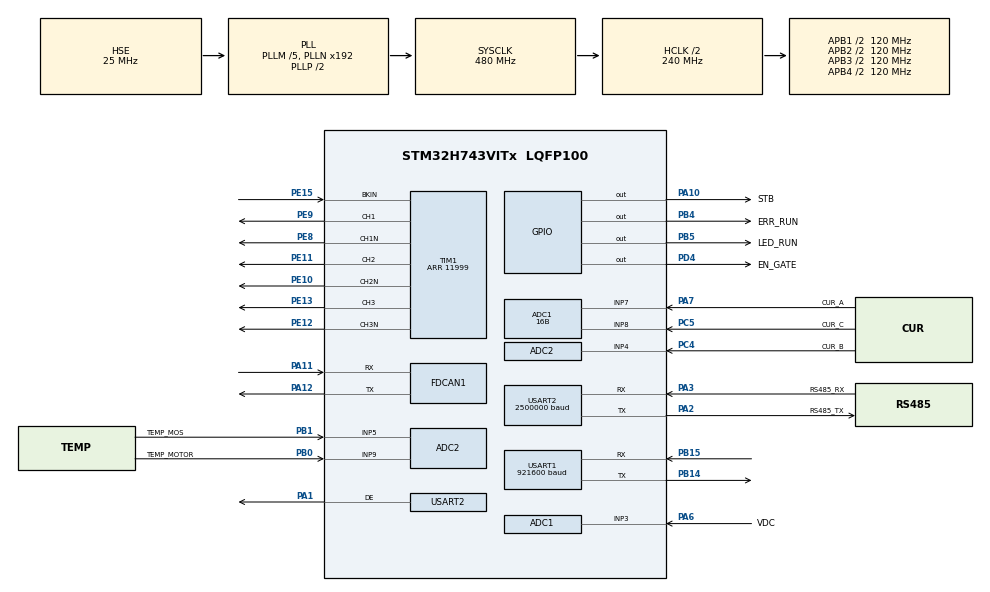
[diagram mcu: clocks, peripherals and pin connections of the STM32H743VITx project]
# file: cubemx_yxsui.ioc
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ADC1.Channel-12\#ChannelRegularConversion=ADC_CHANNEL_3
ADC1.Channel-13\#ChannelRegularConversion=ADC_CHANNEL_3
ADC1.ClockPrescaler=ADC_CLOCK_ASYNC_DIV4
ADC1.ContinuousConvMode=DISABLE
ADC1.ConversionDataManagement=ADC_CONVERSIONDATA_DMA_CIRCULAR
ADC1.DMAAccessModeView=ENABLE
ADC1.EOCSelection=ADC_EOC_SEQ_CONV
ADC1.EnableInjectedConversion=ENABLE
ADC1.EnableInjectedOversampling=ENABLE
ADC1.EnableRegularConversion=ENABLE
ADC1.ExternalTrigConv=ADC_EXTERNALTRIG_T6_TRGO
ADC1.ExternalTrigInjecConv=ADC_EXTERNALTRIGINJEC_T1_TRGO
ADC1.InjNumberOfConversion=1
ADC1.InjOversamplingRatio=8
ADC1.InjOversamplingRightShift=ADC_RIGHTBITSHIFT_3
ADC1.InjectedChannel-6\#ChannelInjectedConversion=ADC_CHANNEL_7
ADC1.InjectedOffsetNumber-6\#ChannelInjectedConversion=ADC_OFFSET_NONE
ADC1.InjectedOffsetSaturation-6\#ChannelInjectedConversion=DISABLE
ADC1.InjectedOffsetSignedSaturation-6\#ChannelInjectedConversion=DISABLE
ADC1.InjectedRank-6\#ChannelInjectedConversion=1
ADC1.InjectedSamplingTime-6\#ChannelInjectedConversion=ADC_SAMPLETIME_1CYCLE_5
ADC1.Mode=ADC_DUALMODE_REGSIMULT_INJECSIMULT
ADC1.NbrOfConversion=2
ADC1.NbrOfConversionFlag=1
ADC1.OffsetNumber-12\#ChannelRegularConversion=ADC_OFFSET_NONE
ADC1.OffsetNumber-13\#ChannelRegularConversion=ADC_OFFSET_NONE
ADC1.OffsetSignedSaturation-12\#ChannelRegularConversion=DISABLE
ADC1.OffsetSignedSaturation-13\#ChannelRegularConversion=DISABLE
ADC1.Overrun=ADC_OVR_DATA_OVERWRITTEN
ADC1.OversamplingMode=ENABLE
ADC1.Rank-12\#ChannelRegularConversion=1
ADC1.Rank-13\#ChannelRegularConversion=2
ADC1.Ratio=8
ADC1.Resolution=ADC_RESOLUTION_16B
ADC1.RightBitShift=ADC_RIGHTBITSHIFT_3
ADC1.SamplingTime-12\#ChannelRegularConversion=ADC_SAMPLETIME_1CYCLE_5
ADC1.SamplingTime-13\#ChannelRegularConversion=ADC_SAMPLETIME_1CYCLE_5
ADC1.master=1
ADC2.Channel-17\#ChannelRegularConversion=ADC_CHANNEL_9
ADC2.Channel-18\#ChannelRegularConversion=ADC_CHANNEL_5
ADC2.ClockPrescaler=ADC_CLOCK_ASYNC_DIV4
ADC2.ConversionDataManagement=ADC_CONVERSIONDATA_DMA_CIRCULAR
ADC2.DMAAccessModeView=ENABLE
ADC2.EOCSelection=ADC_EOC_SEQ_CONV
ADC2.EnableInjectedConversion=ENABLE
ADC2.EnableInjectedOversampling=ENABLE
ADC2.EnableRegularConversion=ENABLE
ADC2.InjNumberOfConversion=1
ADC2.InjOversamplingRatio=8
ADC2.InjOversamplingRightShift=ADC_RIGHTBITSHIFT_3
ADC2.InjectedChannel-15\#ChannelInjectedConversion=ADC_CHANNEL_4
ADC2.InjectedOffsetNumber-15\#ChannelInjectedConversion=ADC_OFFSET_NONE
ADC2.InjectedOffsetSaturation-15\#ChannelInjectedConversion=DISABLE
ADC2.InjectedOffsetSignedSaturation-15\#ChannelInjectedConversion=DISABLE
ADC2.InjectedRank-15\#ChannelInjectedConversion=1
ADC2.InjectedSamplingTime-15\#ChannelInjectedConversion=ADC_SAMPLETIME_1CYCLE_5
ADC2.Mode=ADC_DUALMODE_REGSIMULT_INJECSIMULT
ADC2.NbrOfConversion=2
ADC2.NbrOfConversionFlag=1
ADC2.OffsetNumber-17\#ChannelRegularConversion=ADC_OFFSET_NONE
ADC2.OffsetNumber-18\#ChannelRegularConversion=ADC_OFFSET_NONE
ADC2.OffsetSignedSaturation-17\#ChannelRegularConversion=DISABLE
ADC2.OffsetSignedSaturation-18\#ChannelRegularConversion=DISABLE
ADC2.Overrun=ADC_OVR_DATA_OVERWRITTEN
ADC2.OversamplingMode=ENABLE
ADC2.OversamplingStopReset=ADC_REGOVERSAMPLING_RESUMED_MODE
ADC2.Rank-17\#ChannelRegularConversion=1
ADC2.Rank-18\#ChannelRegularConversion=2
ADC2.Ratio=8
ADC2.RightBitShift=ADC_RIGHTBITSHIFT_3
ADC2.SamplingTime-17\#ChannelRegularConversion=ADC_SAMPLETIME_1CYCLE_5
ADC2.SamplingTime-18\#ChannelRegularConversion=ADC_SAMPLETIME_1CYCLE_5
CORTEX_M7.CPU_DCache=Disabled
CORTEX_M7.CPU_ICache=Enabled
CORTEX_M7.Enable_S-Cortex_Memory_Protection_Unit_Region1_Settings_S=MPU_REGION_ENABLE
CORTEX_M7.default_mode_Activation=1
Dma.ADC1.2.Direction=DMA_PERIPH_TO_MEMORY
Dma.ADC1.2.EventEnable=DISABLE
Dma.ADC1.2.FIFOMode=DMA_FIFOMODE_DISABLE
Dma.ADC1.2.Instance=DMA2_Stream6
Dma.ADC1.2.MemDataAlignment=DMA_MDATAALIGN_WORD
Dma.ADC1.2.MemInc=DMA_MINC_ENABLE
Dma.ADC1.2.Mode=DMA_CIRCULAR
Dma.ADC1.2.PeriphDataAlignment=DMA_PDATAALIGN_WORD
Dma.ADC1.2.PeriphInc=DMA_PINC_DISABLE
Dma.ADC1.2.Polarity=HAL_DMAMUX_REQ_GEN_RISING
Dma.ADC1.2.Priority=DMA_PRIORITY_HIGH
Dma.ADC1.2.RequestNumber=1
Dma.ADC1.2.SignalID=NONE
Dma.ADC1.2.SyncEnable=DISABLE
Dma.ADC1.2.SyncPolarity=HAL_DMAMUX_SYNC_NO_EVENT
Dma.ADC1.2.SyncRequestNumber=1
Dma.ADC1.2.SyncSignalID=NONE
Dma.ADC2.5.Direction=DMA_PERIPH_TO_MEMORY
Dma.ADC2.5.EventEnable=DISABLE
Dma.ADC2.5.FIFOMode=DMA_FIFOMODE_DISABLE
Dma.ADC2.5.Instance=DMA1_Stream2
Dma.ADC2.5.MemDataAlignment=DMA_MDATAALIGN_HALFWORD
Dma.ADC2.5.MemInc=DMA_MINC_ENABLE
Dma.ADC2.5.Mode=DMA_NORMAL
Dma.ADC2.5.PeriphDataAlignment=DMA_PDATAALIGN_HALFWORD
Dma.ADC2.5.PeriphInc=DMA_PINC_DISABLE
Dma.ADC2.5.Polarity=HAL_DMAMUX_REQ_GEN_RISING
Dma.ADC2.5.Priority=DMA_PRIORITY_LOW
Dma.ADC2.5.RequestNumber=1
Dma.ADC2.5.SignalID=NONE
Dma.ADC2.5.SyncEnable=DISABLE
Dma.ADC2.5.SyncPolarity=HAL_DMAMUX_SYNC_NO_EVENT
Dma.ADC2.5.SyncRequestNumber=1
Dma.ADC2.5.SyncSignalID=NONE
Dma.Request0=USART2_RX
Dma.Request1=USART2_TX
Dma.Request2=ADC1
Dma.Request3=USART1_TX
Dma.Request4=USART1_RX
Dma.Request5=ADC2
Dma.USART1_RX.4.Direction=DMA_PERIPH_TO_MEMORY
Dma.USART1_RX.4.EventEnable=DISABLE
Dma.USART1_RX.4.FIFOMode=DMA_FIFOMODE_DISABLE
Dma.USART1_RX.4.Instance=DMA1_Stream4
Dma.USART1_RX.4.MemDataAlignment=DMA_MDATAALIGN_BYTE
Dma.USART1_RX.4.MemInc=DMA_MINC_ENABLE
Dma.USART1_RX.4.Mode=DMA_NORMAL
Dma.USART1_RX.4.PeriphDataAlignment=DMA_PDATAALIGN_BYTE
Dma.USART1_RX.4.PeriphInc=DMA_PINC_DISABLE
Dma.USART1_RX.4.Polarity=HAL_DMAMUX_REQ_GEN_RISING
Dma.USART1_RX.4.Priority=DMA_PRIORITY_LOW
Dma.USART1_RX.4.RequestNumber=1
Dma.USART1_RX.4.SignalID=NONE
Dma.USART1_RX.4.SyncEnable=DISABLE
Dma.USART1_RX.4.SyncPolarity=HAL_DMAMUX_SYNC_NO_EVENT
Dma.USART1_RX.4.SyncRequestNumber=1
Dma.USART1_RX.4.SyncSignalID=NONE
Dma.USART1_TX.3.Direction=DMA_MEMORY_TO_PERIPH
Dma.USART1_TX.3.EventEnable=DISABLE
Dma.USART1_TX.3.FIFOMode=DMA_FIFOMODE_DISABLE
Dma.USART1_TX.3.Instance=DMA1_Stream3
Dma.USART1_TX.3.MemDataAlignment=DMA_MDATAALIGN_BYTE
Dma.USART1_TX.3.MemInc=DMA_MINC_ENABLE
Dma.USART1_TX.3.Mode=DMA_NORMAL
Dma.USART1_TX.3.PeriphDataAlignment=DMA_PDATAALIGN_BYTE
Dma.USART1_TX.3.PeriphInc=DMA_PINC_DISABLE
Dma.USART1_TX.3.Polarity=HAL_DMAMUX_REQ_GEN_RISING
Dma.USART1_TX.3.Priority=DMA_PRIORITY_LOW
Dma.USART1_TX.3.RequestNumber=1
Dma.USART1_TX.3.SignalID=NONE
Dma.USART1_TX.3.SyncEnable=DISABLE
Dma.USART1_TX.3.SyncPolarity=HAL_DMAMUX_SYNC_NO_EVENT
Dma.USART1_TX.3.SyncRequestNumber=1
Dma.USART1_TX.3.SyncSignalID=NONE
Dma.USART2_RX.0.Direction=DMA_PERIPH_TO_MEMORY
Dma.USART2_RX.0.EventEnable=DISABLE
Dma.USART2_RX.0.FIFOMode=DMA_FIFOMODE_DISABLE
Dma.USART2_RX.0.Instance=DMA1_Stream1
Dma.USART2_RX.0.MemDataAlignment=DMA_MDATAALIGN_BYTE
Dma.USART2_RX.0.MemInc=DMA_MINC_ENABLE
Dma.USART2_RX.0.Mode=DMA_NORMAL
Dma.USART2_RX.0.PeriphDataAlignment=DMA_PDATAALIGN_BYTE
Dma.USART2_RX.0.PeriphInc=DMA_PINC_DISABLE
Dma.USART2_RX.0.Polarity=HAL_DMAMUX_REQ_GEN_RISING
Dma.USART2_RX.0.Priority=DMA_PRIORITY_VERY_HIGH
Dma.USART2_RX.0.RequestNumber=1
Dma.USART2_RX.0.SignalID=NONE
Dma.USART2_RX.0.SyncEnable=DISABLE
Dma.USART2_RX.0.SyncPolarity=HAL_DMAMUX_SYNC_NO_EVENT
Dma.USART2_RX.0.SyncRequestNumber=1
Dma.USART2_RX.0.SyncSignalID=NONE
Dma.USART2_TX.1.Direction=DMA_MEMORY_TO_PERIPH
Dma.USART2_TX.1.EventEnable=DISABLE
Dma.USART2_TX.1.FIFOMode=DMA_FIFOMODE_DISABLE
Dma.USART2_TX.1.Instance=DMA1_Stream0
Dma.USART2_TX.1.MemDataAlignment=DMA_MDATAALIGN_BYTE
Dma.USART2_TX.1.MemInc=DMA_MINC_ENABLE
Dma.USART2_TX.1.Mode=DMA_NORMAL
Dma.USART2_TX.1.PeriphDataAlignment=DMA_PDATAALIGN_BYTE
Dma.USART2_TX.1.PeriphInc=DMA_PINC_DISABLE
Dma.USART2_TX.1.Polarity=HAL_DMAMUX_REQ_GEN_RISING
Dma.USART2_TX.1.Priority=DMA_PRIORITY_VERY_HIGH
Dma.USART2_TX.1.RequestNumber=1
Dma.USART2_TX.1.SignalID=NONE
Dma.USART2_TX.1.SyncEnable=DISABLE
Dma.USART2_TX.1.SyncPolarity=HAL_DMAMUX_SYNC_NO_EVENT
Dma.USART2_TX.1.SyncRequestNumber=1
Dma.USART2_TX.1.SyncSignalID=NONE
FDCAN1.AutoRetransmission=ENABLE
FDCAN1.CalculateBaudRateNominal=1000000
FDCAN1.CalculateTimeBitNominal=1000
FDCAN1.CalculateTimeQuantumNominal=50.0
FDCAN1.DataPrescaler=1
FDCAN1.DataTimeSeg1=16
FDCAN1.DataTimeSeg2=3
FDCAN1.FrameFormat=FDCAN_FRAME_FD_BRS
FDCAN1.Mode=FDCAN_MODE_NORMAL
FDCAN1.NominalPrescaler=5
FDCAN1.NominalTimeSeg1=16
FDCAN1.NominalTimeSeg2=3
FDCAN1.RxFifo0ElmtSize=FDCAN_DATA_BYTES_32
FDCAN1.RxFifo0ElmtsNbr=10
FDCAN1.StdFiltersNbr=1
FDCAN1.TxElmtSize=FDCAN_DATA_BYTES_32
FDCAN1.TxFifoQueueElmtsNbr=10
Mcu.Family=STM32H7
Mcu.Name=STM32H743VITx
Mcu.Package=LQFP100
NVIC.ADC_IRQn=true\:0\:0\:true\:false\:true\:true\:true\:true
NVIC.DMA1_Stream0_IRQn=true\:2\:0\:true\:false\:true\:false\:true\:true
NVIC.DMA1_Stream1_IRQn=true\:2\:0\:true\:false\:true\:false\:true\:true
NVIC.DMA1_Stream3_IRQn=true\:8\:0\:true\:false\:true\:true\:true\:true
NVIC.DMA1_Stream4_IRQn=true\:8\:0\:true\:false\:true\:true\:true\:true
NVIC.DMA2_Stream6_IRQn=true\:4\:0\:true\:false\:true\:true\:true\:true
NVIC.FDCAN1_IT0_IRQn=true\:6\:0\:true\:false\:true\:true\:true\:true
NVIC.PriorityGroup=NVIC_PRIORITYGROUP_4
NVIC.TIM1_CC_IRQn=true\:2\:0\:true\:false\:true\:true\:true\:true
NVIC.TIM7_IRQn=true\:15\:0\:false\:false\:true\:false\:true\:true
NVIC.TimeBase=TIM7_IRQn
NVIC.TimeBaseIP=TIM7
NVIC.USART1_IRQn=true\:8\:0\:true\:false\:true\:true\:true\:true
NVIC.USART2_IRQn=true\:2\:0\:true\:false\:true\:true\:true\:true
PA1.Mode=Hardware Flow Control (RS485)
PA1.Signal=USART2_DE
PA10.GPIO_Label=STB
PA10.Signal=GPIO_Output
PA11.Mode=FDCAN_Activate
PA11.Signal=FDCAN1_RX
PA12.Mode=FDCAN_Activate
PA12.Signal=FDCAN1_TX
PA13\ (JTMS/SWDIO).Mode=Serial_Wire
PA13\ (JTMS/SWDIO).Signal=DEBUG_JTMS-SWDIO
PA14\ (JTCK/SWCLK).Mode=Serial_Wire
PA14\ (JTCK/SWCLK).Signal=DEBUG_JTCK-SWCLK
PA2.GPIO_Label=RS485_TX
PA2.GPIO_PuPd=GPIO_PULLUP
PA2.GPIO_Speed=GPIO_SPEED_FREQ_VERY_HIGH
PA2.Mode=Asynchronous
PA2.Signal=USART2_TX
PA3.GPIO_Label=RS485_RX
PA3.GPIO_PuPd=GPIO_PULLUP
PA3.GPIO_Speed=GPIO_SPEED_FREQ_VERY_HIGH
PA3.Mode=Asynchronous
PA3.Signal=USART2_RX
PA6.GPIO_Label=VDC
PA6.Signal=ADCx_INP3
PA7.GPIO_Label=CUR_A
PA7.Signal=ADCx_INP7
PB0.GPIO_Label=TEMP_MOTOR
PB0.Signal=ADCx_INP9
PB1.GPIO_Label=TEMP_MOS
PB1.Signal=ADCx_INP5
PB14.Mode=Asynchronous
PB14.Signal=USART1_TX
PB15.GPIO_PuPd=GPIO_PULLUP
PB15.Mode=Asynchronous
PB15.Signal=USART1_RX
PB4\ (NJTRST).GPIO_Label=ERR_RUN
PB4\ (NJTRST).PinState=GPIO_PIN_SET
PB4\ (NJTRST).Signal=GPIO_Output
PB5.GPIO_Label=LED_RUN
PB5.PinState=GPIO_PIN_SET
PB5.Signal=GPIO_Output
PC4.GPIO_Label=CUR_B
PC4.Signal=ADCx_INP4
PC5.GPIO_Label=CUR_C
PC5.Signal=ADCx_INP8
PD4.GPIO_Label=EN_GATE
PD4.Signal=GPIO_Output
PE10.Mode=PWM Generation2 CH2 CH2N
PE10.Signal=TIM1_CH2N
PE11.Signal=S_TIM1_CH2
PE12.Mode=PWM Generation3 CH3 CH3N
PE12.Signal=TIM1_CH3N
PE13.Signal=S_TIM1_CH3
PE15.GPIO_PuPd=GPIO_PULLUP
PE15.Mode=Activate-Break-Input
PE15.Signal=TIM1_BKIN
PE8.Mode=PWM Generation1 CH1 CH1N
PE8.Signal=TIM1_CH1N
PE9.Signal=S_TIM1_CH1
PH0-OSC_IN\ (PH0).Mode=HSE-External-Oscillator
PH0-OSC_IN\ (PH0).Signal=RCC_OSC_IN
PH1-OSC_OUT\ (PH1).Mode=HSE-External-Oscillator
PH1-OSC_OUT\ (PH1).Signal=RCC_OSC_OUT
ProjectManager.HeapSize=0x1000
ProjectManager.StackSize=0x4000
ProjectManager.TargetToolchain=MDK-ARM V5.32
RCC.ADCFreq_Value=100000000
RCC.APB1Freq_Value=120000000
RCC.APB2Freq_Value=120000000
RCC.APB3Freq_Value=120000000
RCC.APB4Freq_Value=120000000
RCC.CortexFreq_Value=480000000
RCC.D1PPRE=RCC_APB3_DIV2
RCC.D2PPRE1=RCC_APB1_DIV2
RCC.D2PPRE2=RCC_APB2_DIV2
RCC.D3PPRE=RCC_APB4_DIV2
RCC.DIVM1=5
RCC.DIVM2=5
RCC.DIVN1=192
RCC.DIVN2=100
RCC.DIVP2=5
RCC.DIVQ1=3
RCC.DIVQ2=5
RCC.FDCANCLockSelection=RCC_FDCANCLKSOURCE_PLL2
RCC.HCLKFreq_Value=240000000
RCC.HPRE=RCC_HCLK_DIV2
RCC.HSE_VALUE=25000000
RCC.PLL1_VCI_Range-AdvancedSettings=RCC_PLL1VCIRANGE_0
RCC.PLL2_VCI_Range-AdvancedSettings=RCC_PLL2VCIRANGE_0
RCC.PLL2_VCO_SEL-AdvancedSettings=RCC_PLL2VCOMEDIUM
RCC.PLL3_VCI_Range-AdvancedSettings=RCC_PLL3VCIRANGE_0
RCC.PLLSourceVirtual=RCC_PLLSOURCE_HSE
RCC.SPI123CLockSelection=RCC_SPI123CLKSOURCE_CLKP
RCC.SYSCLKFreq_VALUE=480000000
RCC.SYSCLKSource=RCC_SYSCLKSOURCE_PLLCLK
RCC.USBFreq_Value=320000000
SH.ADCx_INP3.0=ADC1_INP3,IN3-Single-Ended
SH.ADCx_INP4.0=ADC2_INP4,IN4-Single-Ended
SH.ADCx_INP5.0=ADC2_INP5,IN5-Single-Ended
SH.ADCx_INP7.0=ADC1_INP7,IN7-Single-Ended
SH.ADCx_INP8.0=ADC1_INP8,IN8-Single-Ended
SH.ADCx_INP9.0=ADC2_INP9,IN9-Single-Ended
SH.S_TIM1_CH1.0=TIM1_CH1,PWM Generation1 CH1 CH1N
SH.S_TIM1_CH2.0=TIM1_CH2,PWM Generation2 CH2 CH2N
SH.S_TIM1_CH3.0=TIM1_CH3,PWM Generation3 CH3 CH3N
TIM1.AutoReloadPreload=TIM_AUTORELOAD_PRELOAD_ENABLE
TIM1.BreakFilter=8
TIM1.BreakPolarity=TIM_BREAKPOLARITY_LOW
TIM1.BreakState=TIM_BREAK_ENABLE
TIM1.Channel-Output\ Compare4\ No\ Output=TIM_CHANNEL_4
TIM1.Channel-PWM\ Generation1\ CH1\ CH1N=TIM_CHANNEL_1
TIM1.Channel-PWM\ Generation2\ CH2\ CH2N=TIM_CHANNEL_2
TIM1.Channel-PWM\ Generation3\ CH3\ CH3N=TIM_CHANNEL_3
TIM1.ClearChannel5=TIM_CHANNEL_5
TIM1.ClearInputSource=TIM_CLEARINPUTSOURCE_NONE
TIM1.CounterMode=TIM_COUNTERMODE_CENTERALIGNED1
TIM1.DeadTime=144
TIM1.OCMode_PWM-PWM\ Generation1\ CH1\ CH1N=TIM_OCMODE_PWM2
TIM1.OCMode_PWM-PWM\ Generation2\ CH2\ CH2N=TIM_OCMODE_PWM2
TIM1.OCMode_PWM-PWM\ Generation3\ CH3\ CH3N=TIM_OCMODE_PWM2
TIM1.OffStateIDLEMode=TIM_OSSI_ENABLE
TIM1.OffStateRunMode=TIM_OSSR_ENABLE
TIM1.Period=11999
TIM1.Pulse-Output\ Compare4\ No\ Output=9999
TIM1.Pulse-PWM\ Generation1\ CH1\ CH1N=65535
TIM1.Pulse-PWM\ Generation2\ CH2\ CH2N=65535
TIM1.Pulse-PWM\ Generation3\ CH3\ CH3N=65535
TIM1.RepetitionCounter=1
TIM1.TIM_MasterOutputTrigger=TIM_TRGO_UPDATE
TIM2.CounterMode=TIM_COUNTERMODE_CENTERALIGNED1
TIM2.Period=11999
TIM6.Period=999
TIM6.Prescaler=239
TIM6.TIM_MasterOutputTrigger=TIM_TRGO_UPDATE
USART1.BaudRate=921600
USART1.VirtualMode-Asynchronous=VM_ASYNC
USART2.BaudRate=2500000
USART2.OverrunDisableParam=ADVFEATURE_OVERRUN_ENABLE
USART2.TxPinLevelInvertParam=ADVFEATURE_TXINV_DISABLE
USART2.VirtualMode-Asynchronous=VM_ASYNC
USART2.VirtualMode-Hardware\ Flow\ Control\ (RS485)=VM_ASYNC
VP_MEMORYMAP_VS_MEMORYMAP.Mode=CurAppReg
VP_SYS_VS_tim7.Mode=TIM7
VP_TIM1_VS_ClockSourceINT.Mode=Internal
VP_TIM1_VS_no_output4.Mode=Output Compare4 No Output
VP_TIM2_VS_ClockSourceINT.Mode=Internal
VP_TIM6_VS_ClockSourceINT.Mode=Enable_Timer
board=custom

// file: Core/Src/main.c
/* USER CODE BEGIN Header */
/**
  ******************************************************************************
  * @file           : main.c
  * @brief          : Main program body
  ******************************************************************************
  * @attention
  *
  * Copyright (c) 2026 STMicroelectronics.
  * All rights reserved.
  *
  * This software is licensed under terms that can be found in the LICENSE file
  * in the root directory of this software component.
  * If no LICENSE file comes with this software, it is provided AS-IS.
  *
  ******************************************************************************
  */
/* USER CODE END Header */
#include "main.h"
#include "adc.h"
#include "dma.h"
#include "fdcan.h"
#include "tim.h"
#include "usart.h"
#include "gpio.h"

/* USER CODE BEGIN Includes */
#include <stdio.h>
#include "encoder.h"
#include "foc_api.h"
#include "foc_bsp.h"
#include "foc_controller.h"
#include "foc_data.h"
#include "encoder_calc.h"
#include "ifly_test.h"
#include "ifly_fault.h"
#include "can_wly.h"
#include "can_protocol_sel.h"
#if (CAN_PROTOCOL_SEL == CAN_PROTO_CYBEAST)
#include "can_cybeast.h"
#endif
#include "can_debug.h"
#include "flash_port.h"
#include "ota_app.h"
/* USER CODE END Includes */

/* USER CODE BEGIN PV */
extern ControllerStruct controller_eyou;
uint8_t open_loop_mode = 0;  // 0=自动旋转, 1=编码器跟随
int16_t v_d_test = 0;        // d轴电压（Q10格式）
int16_t v_q_test = 512;      // q轴电压（Q10格式，约0.5V）
volatile uint8_t g_can_cali_request = 0;  /* CAN 0x2F01 学零位请求标志 */
/* USER CODE END PV */

void SystemClock_Config(void);
void PeriphCommonClock_Config(void);
static void MPU_Config(void);

int main(void)
{

  /* USER CODE BEGIN 1 */

  /* Stage 2 OTA: app always runs from 0x08020000 (single execution slot).
     Bootloader copies staging→App if a pending update is present.
     We re-set VTOR here for the dev-mode case where the debugger bypasses
     the bootloader and leaves VTOR at 0. */
  SCB->VTOR = 0x08020000U;
  __DSB();
  __ISB();

  /* USER CODE END 1 */

  /* MPU Configuration--------------------------------------------------------*/
  MPU_Config();

  /* Enable the CPU Cache */

  /* Enable I-Cache---------------------------------------------------------*/
  SCB_EnableICache();

  /* MCU Configuration--------------------------------------------------------*/

  /* Reset of all peripherals, Initializes the Flash interface and the Systick. */
  HAL_Init();

  /* Configure the system clock */
  SystemClock_Config();

  /* Configure the peripherals common clocks */
  PeriphCommonClock_Config();

  /* Initialize all configured peripherals */
  MX_GPIO_Init();
  MX_DMA_Init();
  MX_TIM1_Init();
  MX_TIM2_Init();
  MX_USART1_UART_Init();
  MX_TIM6_Init();
  MX_FDCAN1_Init();
  MX_ADC1_Init();
  MX_ADC2_Init();
  MX_USART2_UART_Init();
  /* USER CODE BEGIN 2 */
	DWT_Init();  // 初始化DWT周期计数器
	DPT_Encoder_Init(&huart2);

	HAL_Delay(500);
	printf("LT H7 foc start!\r\n");
	printf(FW_BANNER_FMT, SOFT_VERSION, HARD_VERSION, BUILD_DATE, BUILD_TIME);
	HAL_GPIO_WritePin(EN_GATE_GPIO_Port,EN_GATE_Pin,GPIO_PIN_SET);
	HAL_Delay(500);

	/* 上电时 EN_GATE=0, DRV 处于 sleep, nFAULT 被内部下拉至低,
	 * BKIN 极性 LOW + BDTR.BKE=1 会把 BIF latch 到 SR.
	 * EN_GATE 拉高 + tWAKE 稳定后, 清掉这次上电误锁存. */
	TIM1->SR = ~TIM_SR_BIF;
	__DSB();

	/* 启动TIM1 PWM输出、中断和CH4编码器预触发 */
	TIM1_PWM_Start();

	/* 启动ADC注入采样链路（TIM1 TRGO→ADC1/ADC2同步） */
	ADC_FOC_Start();

	/* 启动ADC规则通道DMA采样（TIM6 TRGO→VDC/温度） */
	HAL_TIM_Base_Start(&htim6);
	ADC_Regular_Start();

	/* 电流零点校准（电机静止，IGBT未输出时） */
	printf("Calibrating ADC offsets...\r\n");
	HAL_Delay(100);  // 等待ADC稳定
	ADC_CalibrateOffsets(1024);
	printf("ADC calibration done: Off_a=%d Off_b=%d\r\n",
	       (int32_t)g_adc_offset_a, (int32_t)g_adc_offset_b);

	/* FOC控制器初始化（参考PHU Init_func顺序） */
	printf("Initializing FOC controller...\r\n");

	/* 1. 设置电机参数（必须在Init_foc之前，PID全局变量会被controller_init引用） */
	set_ver_par(90);  // id=90: motor_h7_0426配套，NPP=8

	/* 2. 使能PWM输出（Init_foc 中的 ElecAngleEstimate 需要 PWM 能驱动电机） */
	htim1.Instance->CCER |= 0x0555;

	/* 3. FOC核心初始化（滤波器/斜坡/标志位/FlashData含ElecAngleEstimate/ResetControlData） */
	Init_foc(&controller_eyou);

	/* 4. 将ADC校准的零点偏置同步到FOC控制器 */
	controller_eyou.FlashData.Ia_offset = (uint16_t)g_adc_offset_a;
	controller_eyou.FlashData.Ib_offset = (uint16_t)g_adc_offset_b;

	// /* 临时测试: elec_offset 修正 +40° 电角度 (前一版 -40° 反了)
	//  * 21428 + 7282 = 28710 */
	// controller_eyou.FlashData.elec_offset = 28710;
	// printf("elec_offset override: %u (was 21428)\r\n", controller_eyou.FlashData.elec_offset);

	/* 5. 输出端编码器零位初始化 */
	Encoder_out_data_Reset(controller_eyou.FlashData.MaxPositionLimit,
	                       controller_eyou.FlashData.MinPositionLimit);

	/* 6. 开机辨识: Rs → Ld/Lq → 电流环PI自整定 */
	printf("Starting motor identification...\r\n");

	/* 打印实际 VDC（确认 UDC 宏是否匹配硬件） */
	extern volatile uint32_t g_vdc_raw;
	HAL_Delay(10);
	/* VDC: ADC 16bit, 3.3V 满量程, 分压比需根据硬件确认 */
	float vdc_volt = g_vdc_raw * 3.3f / 65535.0f;
	printf("VDC ADC raw = %u, voltage (before divider scaling) = %.3f V\r\n",
	       (unsigned int)g_vdc_raw, vdc_volt);

//	/* Rs 辨识前先对齐 d 轴，消除上电编码器位置不确定 */
//	alignDAxis(&controller_eyou);

	identifyMotorParamsCached(&controller_eyou);
	//autoTuneCurrentLoopPI(controller_eyou.ident_test.Rs, controller_eyou.ident_test.Ld, controller_eyou.ident_test.Lq);

	/* 7. 复位控制数据（清辨识期间积分器残留） */
	ResetControlData(&controller_eyou);

	/* 8. 辨识完成，设置运行状态 */
	controller_eyou.foc_run = 0;
	controller_eyou.controller_mode = PROFILE_TORQUE_MODE;  // 默认电流模式
	controller_eyou.I_q_ref = 0;                            // 默认0输出
	printf("FOC initialization done, NPP=%d, foc_run=%d, mode=%d (Torque), I_q_ref=0\r\n",
	       NPP, controller_eyou.foc_run, controller_eyou.controller_mode);

	/* 启动USART1调试命令接收 */
	USART1_DebugRx_Start();
	ota_init();

	/* 万里扬FDCAN协议从站初始化 (fdcan_rx_user 已在 can_wly.c 中覆盖弱符号) */
#if (CAN_PROTOCOL_SEL == CAN_PROTO_CYBEAST)
	can_cybeast_init();
#else
	can_wly_init();
#endif
	can_debug_init();
  /* USER CODE END 2 */

  /* Infinite loop */
  /* USER CODE BEGIN WHILE */
	g_foc_openloop_enable = USEFOC_OPEN_TEST;//开环测试
	if(g_foc_openloop_enable == 1) {
		controller_eyou.foc_run = 0;
	}
  while (1)
  {
    /* USER CODE END WHILE */

    /* USER CODE BEGIN 3 */
		/* 调试串口命令解析 */
		dbg_cmd_set();

		/* OTA 数据帧处理（OTA 接收模式下消化 ring buffer） */
		ota_process();

		/* Stage 2 OTA: 启动 5s 内未触发故障 → 标记当前槽稳定（清 boot_count） */
		static uint8_t s_marked_stable = 0;
		if (!s_marked_stable && HAL_GetTick() > 5000U) {
			ota_mark_self_stable();
			s_marked_stable = 1;
		}

		/* CAN 0x2F01 学零位请求 (ISR 设标志, 主循环执行) */
		if (g_can_cali_request) {
			g_can_cali_request = 0;
			uint8_t old_run = controller_eyou.foc_run;
			controller_eyou.foc_run = 0;
			controller_eyou.ServoErrFlag.All_Flag = 0;
			HAL_Delay(10);
			TIM1->CCER |= 0x0555u;
			__HAL_TIM_MOE_ENABLE(&htim1);
			printf("CAN Cali start\r\n");
			ElecAngleEstimate(&controller_eyou);
			if (Flash_EraseSector() != HAL_OK) {
				printf("CAN Cali: Flash erase FAIL\r\n");
			} else {
				WriteDataToFlash();
				printf("CAN Cali done\r\n");
			}
			controller_eyou.foc_run = old_run;
		}

		/* CAN RX 调试帧异步打印 (canrxdbg 命令开启) */
#if (CAN_PROTOCOL_SEL == CAN_PROTO_CYBEAST)
		can_cybeast_poll();
#else
		can_wly_dbg_poll();
#endif
		can_debug_poll();

		/* 非阻塞周期调用日志打印 */
		static uint32_t log_tick = 0;
		if (HAL_GetTick() - log_tick >= logPriodMs) {
			log_tick = HAL_GetTick();
			dbg_log_print();
		}

		/* 带宽测试 done 标志轮询 + 结果打印 */
		Test_log_print();

		/* 1ms 周期任务：故障保护 + 状态监控 */
		static uint32_t fault_tick = 0;
		if (HAL_GetTick() - fault_tick >= 1) {
			fault_tick = HAL_GetTick();

			/* ADC 数据转换（VDC / 温度） */
			adc_convert();

			/* 故障检测 */
			dcVoltageProFunc();          // 母线过/欠压
			boradTempProFunc();          // 板温过温
			motorTempProFunc();          // 电机绕组过温
			//phaseLossProFunc();          // 缺相保护 (KCL + 单相低电流双判据)
			overloadProFunc();             // 过载保护 (95A 5s报警 10s停机)

			// busOverCurrentCheck();       // 母线过流
			// LockedRotorProFunc();        // 堵转检测
			//driverChipFaultCheck();      // DRV8353 nFAULT 引脚
			//motorSpeedOverCheck();       // 过速检测
//			motorSpeedOffsetCheck();     // 速度跟随偏差
//			motorPosOffsetCheck();       // 位置跟随偏差
//			motorCurrentOffsetCheck();   // 电流跟随偏差
//			motorOverPosCheck();         // 软位置限位

			/* 故障总分发：扫描所有故障位，触发时停机 */
			if(!g_foc_openloop_enable) {
				CheckAndHandleAllFaultBits();
			}

			/* 主动刹车状态机 tick */
			fault_brake_tick_1ms();

			/* DRV8353 异步复位状态机 tick */
			drv_reset_tick_1ms();

			/* 到达判据检测 */
			target_reach_check();
		}

		/* CAN 1ms tick (主动上报模式, 默认关闭) */
		static uint32_t can_tick = 0;
		if (HAL_GetTick() - can_tick >= 1) {
			can_tick = HAL_GetTick();
#if (CAN_PROTOCOL_SEL == CAN_PROTO_CYBEAST)
			can_cybeast_tick_1ms();
#else
			can_wly_tick_1ms();
#endif
		}

		/* 历史调试打印块已迁到 foc_bsp.c dbg_log_print()，详见 logid 120/130/140/150/151 */
  }
  /* USER CODE END 3 */
}

void SystemClock_Config(void)
{
  RCC_OscInitTypeDef RCC_OscInitStruct = {0};
  RCC_ClkInitTypeDef RCC_ClkInitStruct = {0};

  /** Supply configuration update enable
  */
  HAL_PWREx_ConfigSupply(PWR_LDO_SUPPLY);

  /** Configure the main internal regulator output voltage
  */
  __HAL_PWR_VOLTAGESCALING_CONFIG(PWR_REGULATOR_VOLTAGE_SCALE0);

  while(!__HAL_PWR_GET_FLAG(PWR_FLAG_VOSRDY)) {}

  /** Initializes the RCC Oscillators according to the specified parameters
  * in the RCC_OscInitTypeDef structure.
  */
  RCC_OscInitStruct.OscillatorType = RCC_OSCILLATORTYPE_HSE;
  RCC_OscInitStruct.HSEState = RCC_HSE_ON;
  RCC_OscInitStruct.PLL.PLLState = RCC_PLL_ON;
  RCC_OscInitStruct.PLL.PLLSource = RCC_PLLSOURCE_HSE;
  RCC_OscInitStruct.PLL.PLLM = 5;
  RCC_OscInitStruct.PLL.PLLN = 192;
  RCC_OscInitStruct.PLL.PLLP = 2;
  RCC_OscInitStruct.PLL.PLLQ = 3;
  RCC_OscInitStruct.PLL.PLLR = 2;
  RCC_OscInitStruct.PLL.PLLRGE = RCC_PLL1VCIRANGE_2;
  RCC_OscInitStruct.PLL.PLLVCOSEL = RCC_PLL1VCOWIDE;
  RCC_OscInitStruct.PLL.PLLFRACN = 0;
  if (HAL_RCC_OscConfig(&RCC_OscInitStruct) != HAL_OK)
  {
    Error_Handler();
  }

  /** Initializes the CPU, AHB and APB buses clocks
  */
  RCC_ClkInitStruct.ClockType = RCC_CLOCKTYPE_HCLK|RCC_CLOCKTYPE_SYSCLK
                              |RCC_CLOCKTYPE_PCLK1|RCC_CLOCKTYPE_PCLK2
                              |RCC_CLOCKTYPE_D3PCLK1|RCC_CLOCKTYPE_D1PCLK1;
  RCC_ClkInitStruct.SYSCLKSource = RCC_SYSCLKSOURCE_PLLCLK;
  RCC_ClkInitStruct.SYSCLKDivider = RCC_SYSCLK_DIV1;
  RCC_ClkInitStruct.AHBCLKDivider = RCC_HCLK_DIV2;
  RCC_ClkInitStruct.APB3CLKDivider = RCC_APB3_DIV2;
  RCC_ClkInitStruct.APB1CLKDivider = RCC_APB1_DIV2;
  RCC_ClkInitStruct.APB2CLKDivider = RCC_APB2_DIV2;
  RCC_ClkInitStruct.APB4CLKDivider = RCC_APB4_DIV2;

  if (HAL_RCC_ClockConfig(&RCC_ClkInitStruct, FLASH_LATENCY_4) != HAL_OK)
  {
    Error_Handler();
  }
}

void PeriphCommonClock_Config(void)
{
  RCC_PeriphCLKInitTypeDef PeriphClkInitStruct = {0};

  /** Initializes the peripherals clock
  */
  PeriphClkInitStruct.PeriphClockSelection = RCC_PERIPHCLK_ADC|RCC_PERIPHCLK_FDCAN;
  PeriphClkInitStruct.PLL2.PLL2M = 5;
  PeriphClkInitStruct.PLL2.PLL2N = 100;
  PeriphClkInitStruct.PLL2.PLL2P = 5;
  PeriphClkInitStruct.PLL2.PLL2Q = 5;
  PeriphClkInitStruct.PLL2.PLL2R = 2;
  PeriphClkInitStruct.PLL2.PLL2RGE = RCC_PLL2VCIRANGE_2;
  PeriphClkInitStruct.PLL2.PLL2VCOSEL = RCC_PLL2VCOWIDE;
  PeriphClkInitStruct.PLL2.PLL2FRACN = 0;
  PeriphClkInitStruct.FdcanClockSelection = RCC_FDCANCLKSOURCE_PLL2;
  PeriphClkInitStruct.AdcClockSelection = RCC_ADCCLKSOURCE_PLL2;
  if (HAL_RCCEx_PeriphCLKConfig(&PeriphClkInitStruct) != HAL_OK)
  {
    Error_Handler();
  }
}

 /* MPU Configuration */

void MPU_Config(void)
{
  MPU_Region_InitTypeDef MPU_InitStruct = {0};

  /* Disables the MPU */
  HAL_MPU_Disable();

  /** Initializes and configures the Region and the memory to be protected
  */
  MPU_InitStruct.Enable = MPU_REGION_ENABLE;
  MPU_InitStruct.Number = MPU_REGION_NUMBER0;
  MPU_InitStruct.BaseAddress = 0x0;
  MPU_InitStruct.Size = MPU_REGION_SIZE_4GB;
  MPU_InitStruct.SubRegionDisable = 0x87;
  MPU_InitStruct.TypeExtField = MPU_TEX_LEVEL0;
  MPU_InitStruct.AccessPermission = MPU_REGION_NO_ACCESS;
  MPU_InitStruct.DisableExec = MPU_INSTRUCTION_ACCESS_DISABLE;
  MPU_InitStruct.IsShareable = MPU_ACCESS_SHAREABLE;
  MPU_InitStruct.IsCacheable = MPU_ACCESS_NOT_CACHEABLE;
  MPU_InitStruct.IsBufferable = MPU_ACCESS_NOT_BUFFERABLE;

  HAL_MPU_ConfigRegion(&MPU_InitStruct);

  /** Initializes and configures the Region and the memory to be protected
  */
  MPU_InitStruct.Number = MPU_REGION_NUMBER1;
  MPU_InitStruct.Size = MPU_REGION_SIZE_32B;
  MPU_InitStruct.SubRegionDisable = 0x0;
  MPU_InitStruct.DisableExec = MPU_INSTRUCTION_ACCESS_ENABLE;
  MPU_InitStruct.IsShareable = MPU_ACCESS_NOT_SHAREABLE;

  HAL_MPU_ConfigRegion(&MPU_InitStruct);
  /* Enables the MPU */
  HAL_MPU_Enable(MPU_PRIVILEGED_DEFAULT);

}

void HAL_TIM_PeriodElapsedCallback(TIM_HandleTypeDef *htim)
{
  if (htim->Instance == TIM7)
  {
    HAL_IncTick();
  }
}

void Error_Handler(void)
{
  __disable_irq();
  while (1)
  {
  }
}
